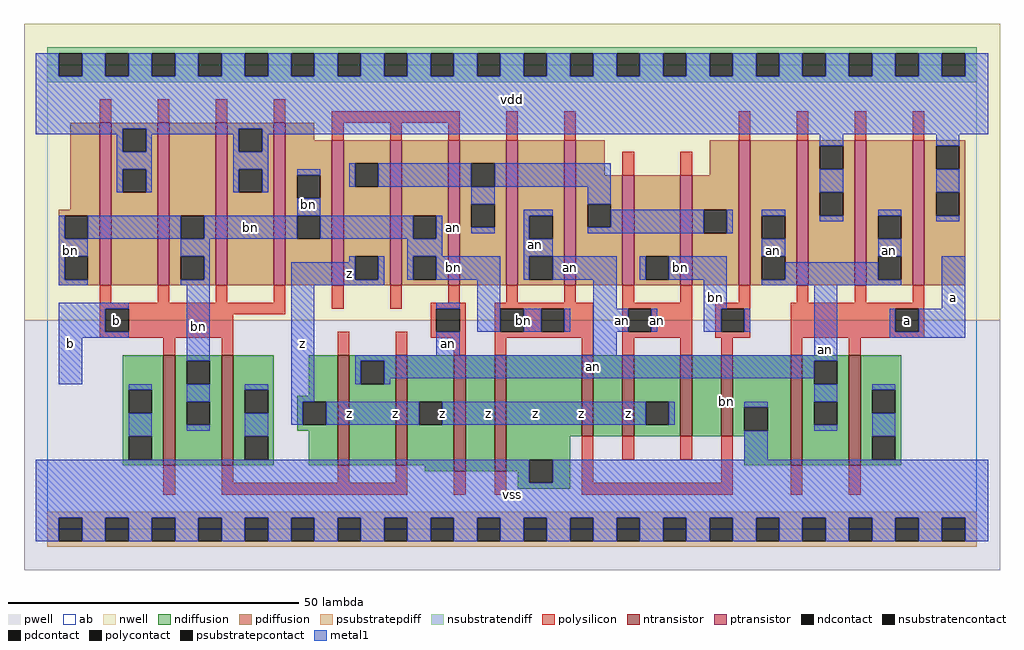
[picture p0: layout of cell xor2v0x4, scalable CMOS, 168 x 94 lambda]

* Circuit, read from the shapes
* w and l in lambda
.subckt xor2v0x4 a an b bn vdd vss z
M1 bn b vss vss nfet w=19 l=2 m=2
M2 an b z vss nfet w=19 l=2 m=2
M3 n1 an z vss nfet w=20 l=2
M4 vss bn n1 vss nfet w=20 l=2
M5 n2 bn vss vss nfet w=14 l=2
M6 z an n2 vss nfet w=14 l=2
M7 n3 an z vss nfet w=14 l=2
M8 vss bn n3 vss nfet w=14 l=2
M9 an a vss vss nfet w=19 l=2 m=2
M10 vdd b bn vdd pfet w=28 l=2 m=4
M11 z an bn vdd pfet w=25 l=2 m=3
M12 an bn z vdd pfet w=25 l=2 m=3
M13 bn an z vdd pfet w=19 l=2 m=2
M14 vdd a an vdd pfet w=25 l=2 m=3
.ends

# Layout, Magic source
magic
tech scmos
<< ab >>
rect 0 0 160 80
<< pwell >>
rect -4 -7 164 36
<< nwell >>
rect -4 36 164 87
<< polysilicon >>
rect 9 70 11 74
rect 19 70 21 74
rect 29 70 31 74
rect 39 70 41 74
rect 49 70 71 72
rect 49 67 51 70
rect 59 67 61 70
rect 69 67 71 70
rect 79 67 81 72
rect 89 67 91 72
rect 119 67 121 72
rect 129 67 131 72
rect 139 67 141 72
rect 149 67 151 72
rect 99 61 101 65
rect 109 61 111 65
rect 9 39 11 42
rect 19 39 21 42
rect 29 39 31 42
rect 39 39 41 42
rect 9 38 41 39
rect 49 38 51 42
rect 59 38 61 42
rect 69 39 71 42
rect 79 39 81 42
rect 89 39 91 42
rect 99 39 101 42
rect 109 39 111 42
rect 119 39 121 42
rect 129 39 131 42
rect 139 39 141 42
rect 149 39 151 42
rect 66 38 72 39
rect 9 34 10 38
rect 14 37 41 38
rect 14 34 32 37
rect 66 34 67 38
rect 71 34 72 38
rect 9 33 32 34
rect 20 30 22 33
rect 30 30 32 33
rect 50 30 52 34
rect 60 30 62 34
rect 66 33 72 34
rect 70 30 72 33
rect 77 38 94 39
rect 77 34 78 38
rect 82 34 85 38
rect 89 34 94 38
rect 77 33 94 34
rect 77 30 79 33
rect 92 30 94 33
rect 99 38 111 39
rect 99 34 100 38
rect 104 34 111 38
rect 99 33 111 34
rect 115 38 121 39
rect 115 34 116 38
rect 120 34 121 38
rect 115 33 121 34
rect 128 38 151 39
rect 128 34 146 38
rect 150 34 151 38
rect 128 33 151 34
rect 99 30 101 33
rect 109 30 111 33
rect 116 30 118 33
rect 128 30 130 33
rect 138 30 140 33
rect 20 6 22 11
rect 30 8 32 11
rect 50 8 52 11
rect 60 8 62 11
rect 30 6 62 8
rect 70 6 72 10
rect 77 6 79 10
rect 92 8 94 16
rect 99 12 101 16
rect 109 12 111 16
rect 116 8 118 16
rect 92 6 118 8
rect 128 6 130 11
rect 138 6 140 11
<< ndiffusion >>
rect 13 24 20 30
rect 13 20 14 24
rect 18 20 20 24
rect 13 16 20 20
rect 13 12 14 16
rect 18 12 20 16
rect 13 11 20 12
rect 22 29 30 30
rect 22 25 24 29
rect 28 25 30 29
rect 22 22 30 25
rect 22 18 24 22
rect 28 18 30 22
rect 22 11 30 18
rect 32 24 39 30
rect 32 20 34 24
rect 38 20 39 24
rect 45 23 50 30
rect 32 16 39 20
rect 43 22 50 23
rect 43 18 44 22
rect 48 18 50 22
rect 43 17 50 18
rect 32 12 34 16
rect 38 12 39 16
rect 32 11 39 12
rect 45 11 50 17
rect 52 29 60 30
rect 52 25 54 29
rect 58 25 60 29
rect 52 11 60 25
rect 62 22 70 30
rect 62 18 64 22
rect 68 18 70 22
rect 62 11 70 18
rect 65 10 70 11
rect 72 10 77 30
rect 79 16 92 30
rect 94 16 99 30
rect 101 22 109 30
rect 101 18 103 22
rect 107 18 109 22
rect 101 16 109 18
rect 111 16 116 30
rect 118 21 128 30
rect 118 17 120 21
rect 124 17 128 21
rect 118 16 128 17
rect 79 12 90 16
rect 79 10 83 12
rect 81 8 83 10
rect 87 8 90 12
rect 81 7 90 8
rect 120 11 128 16
rect 130 29 138 30
rect 130 25 132 29
rect 136 25 138 29
rect 130 22 138 25
rect 130 18 132 22
rect 136 18 138 22
rect 130 11 138 18
rect 140 24 147 30
rect 140 20 142 24
rect 146 20 147 24
rect 140 16 147 20
rect 140 12 142 16
rect 146 12 147 16
rect 140 11 147 12
<< pdiffusion >>
rect 4 55 9 70
rect 2 54 9 55
rect 2 50 3 54
rect 7 50 9 54
rect 2 47 9 50
rect 2 43 3 47
rect 7 43 9 47
rect 2 42 9 43
rect 11 69 19 70
rect 11 65 13 69
rect 17 65 19 69
rect 11 62 19 65
rect 11 58 13 62
rect 17 58 19 62
rect 11 42 19 58
rect 21 54 29 70
rect 21 50 23 54
rect 27 50 29 54
rect 21 47 29 50
rect 21 43 23 47
rect 27 43 29 47
rect 21 42 29 43
rect 31 69 39 70
rect 31 65 33 69
rect 37 65 39 69
rect 31 62 39 65
rect 31 58 33 62
rect 37 58 39 62
rect 31 42 39 58
rect 41 67 46 70
rect 41 61 49 67
rect 41 57 43 61
rect 47 57 49 61
rect 41 54 49 57
rect 41 50 43 54
rect 47 50 49 54
rect 41 42 49 50
rect 51 63 59 67
rect 51 59 53 63
rect 57 59 59 63
rect 51 47 59 59
rect 51 43 53 47
rect 57 43 59 47
rect 51 42 59 43
rect 61 54 69 67
rect 61 50 63 54
rect 67 50 69 54
rect 61 47 69 50
rect 61 43 63 47
rect 67 43 69 47
rect 61 42 69 43
rect 71 63 79 67
rect 71 59 73 63
rect 77 59 79 63
rect 71 56 79 59
rect 71 52 73 56
rect 77 52 79 56
rect 71 42 79 52
rect 81 54 89 67
rect 81 50 83 54
rect 87 50 89 54
rect 81 47 89 50
rect 81 43 83 47
rect 87 43 89 47
rect 81 42 89 43
rect 91 61 96 67
rect 114 61 119 67
rect 91 56 99 61
rect 91 52 93 56
rect 97 52 99 56
rect 91 42 99 52
rect 101 47 109 61
rect 101 43 103 47
rect 107 43 109 47
rect 101 42 109 43
rect 111 55 119 61
rect 111 51 113 55
rect 117 51 119 55
rect 111 42 119 51
rect 121 54 129 67
rect 121 50 123 54
rect 127 50 129 54
rect 121 47 129 50
rect 121 43 123 47
rect 127 43 129 47
rect 121 42 129 43
rect 131 66 139 67
rect 131 62 133 66
rect 137 62 139 66
rect 131 58 139 62
rect 131 54 133 58
rect 137 54 139 58
rect 131 42 139 54
rect 141 54 149 67
rect 141 50 143 54
rect 147 50 149 54
rect 141 47 149 50
rect 141 43 143 47
rect 147 43 149 47
rect 141 42 149 43
rect 151 66 158 67
rect 151 62 153 66
rect 157 62 158 66
rect 151 58 158 62
rect 151 54 153 58
rect 157 54 158 58
rect 151 42 158 54
<< metal1 >>
rect -2 78 2 82
rect 6 78 10 82
rect 14 78 18 82
rect 22 78 26 82
rect 30 78 34 82
rect 38 78 42 82
rect 46 78 50 82
rect 54 78 58 82
rect 62 78 66 82
rect 70 78 74 82
rect 78 78 82 82
rect 86 78 90 82
rect 94 78 98 82
rect 102 78 106 82
rect 110 78 114 82
rect 118 78 122 82
rect 126 78 130 82
rect 134 78 138 82
rect 142 78 146 82
rect 150 78 154 82
rect 158 78 162 82
rect -2 69 162 78
rect -2 68 13 69
rect 12 65 13 68
rect 17 68 33 69
rect 17 65 18 68
rect 12 62 18 65
rect 12 58 13 62
rect 17 58 18 62
rect 32 65 33 68
rect 37 68 162 69
rect 37 65 38 68
rect 32 62 38 65
rect 133 66 137 68
rect 32 58 33 62
rect 37 58 38 62
rect 43 61 47 62
rect 52 59 53 63
rect 57 59 73 63
rect 77 59 97 63
rect 43 54 47 57
rect 73 56 77 59
rect 2 50 3 54
rect 7 50 23 54
rect 27 50 43 54
rect 47 50 63 54
rect 67 50 68 54
rect 93 56 97 59
rect 73 51 77 52
rect 82 54 87 55
rect 2 47 7 50
rect 2 43 3 47
rect 2 42 7 43
rect 23 47 28 50
rect 62 47 68 50
rect 82 50 83 54
rect 133 58 137 62
rect 97 52 113 55
rect 93 51 113 52
rect 117 51 118 55
rect 123 54 127 55
rect 82 47 87 50
rect 153 66 157 68
rect 153 58 157 62
rect 133 53 137 54
rect 143 54 147 55
rect 123 47 127 50
rect 27 43 28 47
rect 52 46 53 47
rect 23 42 28 43
rect 2 38 14 39
rect 2 34 10 38
rect 2 33 14 34
rect 2 25 6 33
rect 24 29 28 42
rect 42 43 53 46
rect 57 43 58 47
rect 62 43 63 47
rect 67 43 78 47
rect 82 43 83 47
rect 87 43 98 47
rect 102 43 103 47
rect 107 43 117 47
rect 42 42 58 43
rect 14 24 18 25
rect 14 16 18 20
rect 24 22 28 25
rect 24 17 28 18
rect 34 24 38 25
rect 34 16 38 20
rect 42 22 46 42
rect 67 38 71 39
rect 74 34 78 43
rect 94 38 98 43
rect 113 38 117 43
rect 153 53 157 54
rect 143 47 147 50
rect 127 43 143 46
rect 123 42 147 43
rect 82 34 85 38
rect 89 34 90 38
rect 94 34 100 38
rect 104 34 105 38
rect 113 34 116 38
rect 120 34 121 38
rect 67 30 71 34
rect 94 30 98 34
rect 132 30 136 42
rect 154 38 158 47
rect 145 34 146 38
rect 150 34 158 38
rect 145 33 158 34
rect 53 29 136 30
rect 53 25 54 29
rect 58 26 132 29
rect 58 25 59 26
rect 132 22 136 25
rect 42 18 44 22
rect 48 18 64 22
rect 68 18 103 22
rect 107 18 108 22
rect 120 21 124 22
rect 132 17 136 18
rect 142 24 146 25
rect 120 12 124 17
rect 142 16 146 20
rect -2 8 83 12
rect 87 8 162 12
rect -2 2 162 8
rect -2 -2 2 2
rect 6 -2 10 2
rect 14 -2 18 2
rect 22 -2 26 2
rect 30 -2 34 2
rect 38 -2 42 2
rect 46 -2 50 2
rect 54 -2 58 2
rect 62 -2 66 2
rect 70 -2 74 2
rect 78 -2 82 2
rect 86 -2 90 2
rect 94 -2 98 2
rect 102 -2 106 2
rect 110 -2 114 2
rect 118 -2 122 2
rect 126 -2 130 2
rect 134 -2 138 2
rect 142 -2 146 2
rect 150 -2 154 2
rect 158 -2 162 2
<< ntransistor >>
rect 20 11 22 30
rect 30 11 32 30
rect 50 11 52 30
rect 60 11 62 30
rect 70 10 72 30
rect 77 10 79 30
rect 92 16 94 30
rect 99 16 101 30
rect 109 16 111 30
rect 116 16 118 30
rect 128 11 130 30
rect 138 11 140 30
<< ptransistor >>
rect 9 42 11 70
rect 19 42 21 70
rect 29 42 31 70
rect 39 42 41 70
rect 49 42 51 67
rect 59 42 61 67
rect 69 42 71 67
rect 79 42 81 67
rect 89 42 91 67
rect 99 42 101 61
rect 109 42 111 61
rect 119 42 121 67
rect 129 42 131 67
rect 139 42 141 67
rect 149 42 151 67
<< polycontact >>
rect 10 34 14 38
rect 67 34 71 38
rect 78 34 82 38
rect 85 34 89 38
rect 100 34 104 38
rect 116 34 120 38
rect 146 34 150 38
<< ndcontact >>
rect 14 20 18 24
rect 14 12 18 16
rect 24 25 28 29
rect 24 18 28 22
rect 34 20 38 24
rect 44 18 48 22
rect 34 12 38 16
rect 54 25 58 29
rect 64 18 68 22
rect 103 18 107 22
rect 120 17 124 21
rect 83 8 87 12
rect 132 25 136 29
rect 132 18 136 22
rect 142 20 146 24
rect 142 12 146 16
<< pdcontact >>
rect 3 50 7 54
rect 3 43 7 47
rect 13 65 17 69
rect 13 58 17 62
rect 23 50 27 54
rect 23 43 27 47
rect 33 65 37 69
rect 33 58 37 62
rect 43 57 47 61
rect 43 50 47 54
rect 53 59 57 63
rect 53 43 57 47
rect 63 50 67 54
rect 63 43 67 47
rect 73 59 77 63
rect 73 52 77 56
rect 83 50 87 54
rect 83 43 87 47
rect 93 52 97 56
rect 103 43 107 47
rect 113 51 117 55
rect 123 50 127 54
rect 123 43 127 47
rect 133 62 137 66
rect 133 54 137 58
rect 143 50 147 54
rect 143 43 147 47
rect 153 62 157 66
rect 153 54 157 58
<< psubstratepcontact >>
rect 2 -2 6 2
rect 10 -2 14 2
rect 18 -2 22 2
rect 26 -2 30 2
rect 34 -2 38 2
rect 42 -2 46 2
rect 50 -2 54 2
rect 58 -2 62 2
rect 66 -2 70 2
rect 74 -2 78 2
rect 82 -2 86 2
rect 90 -2 94 2
rect 98 -2 102 2
rect 106 -2 110 2
rect 114 -2 118 2
rect 122 -2 126 2
rect 130 -2 134 2
rect 138 -2 142 2
rect 146 -2 150 2
rect 154 -2 158 2
<< nsubstratencontact >>
rect 2 78 6 82
rect 10 78 14 82
rect 18 78 22 82
rect 26 78 30 82
rect 34 78 38 82
rect 42 78 46 82
rect 50 78 54 82
rect 58 78 62 82
rect 66 78 70 82
rect 74 78 78 82
rect 82 78 86 82
rect 90 78 94 82
rect 98 78 102 82
rect 106 78 110 82
rect 114 78 118 82
rect 122 78 126 82
rect 130 78 134 82
rect 138 78 142 82
rect 146 78 150 82
rect 154 78 158 82
<< psubstratepdiff >>
rect 0 2 160 3
rect 0 -2 2 2
rect 6 -2 10 2
rect 14 -2 18 2
rect 22 -2 26 2
rect 30 -2 34 2
rect 38 -2 42 2
rect 46 -2 50 2
rect 54 -2 58 2
rect 62 -2 66 2
rect 70 -2 74 2
rect 78 -2 82 2
rect 86 -2 90 2
rect 94 -2 98 2
rect 102 -2 106 2
rect 110 -2 114 2
rect 118 -2 122 2
rect 126 -2 130 2
rect 134 -2 138 2
rect 142 -2 146 2
rect 150 -2 154 2
rect 158 -2 160 2
rect 0 -3 160 -2
<< nsubstratendiff >>
rect 0 82 160 83
rect 0 78 2 82
rect 6 78 10 82
rect 14 78 18 82
rect 22 78 26 82
rect 30 78 34 82
rect 38 78 42 82
rect 46 78 50 82
rect 54 78 58 82
rect 62 78 66 82
rect 70 78 74 82
rect 78 78 82 82
rect 86 78 90 82
rect 94 78 98 82
rect 102 78 106 82
rect 110 78 114 82
rect 118 78 122 82
rect 126 78 130 82
rect 134 78 138 82
rect 142 78 146 82
rect 150 78 154 82
rect 158 78 160 82
rect 0 77 160 78
<< labels >>
rlabel ptransistor 70 52 70 52 6 an
rlabel polysilicon 105 36 105 36 6 an
rlabel ntransistor 117 22 117 22 6 bn
rlabel metal1 4 32 4 32 6 b
rlabel polycontact 12 36 12 36 6 b
rlabel metal1 4 48 4 48 6 bn
rlabel metal1 26 35 26 35 6 bn
rlabel metal1 60 20 60 20 6 z
rlabel metal1 52 20 52 20 6 z
rlabel metal1 44 32 44 32 6 z
rlabel metal1 52 44 52 44 6 z
rlabel metal1 45 56 45 56 6 bn
rlabel metal1 80 6 80 6 6 vss
rlabel metal1 84 20 84 20 6 z
rlabel metal1 92 20 92 20 6 z
rlabel metal1 76 20 76 20 6 z
rlabel metal1 68 20 68 20 6 z
rlabel metal1 69 32 69 32 6 an
rlabel metal1 70 45 70 45 6 bn
rlabel metal1 82 36 82 36 6 bn
rlabel metal1 84 49 84 49 6 an
rlabel metal1 35 52 35 52 6 bn
rlabel metal1 80 74 80 74 6 vdd
rlabel metal1 100 20 100 20 6 z
rlabel metal1 90 45 90 45 6 an
rlabel metal1 99 36 99 36 6 an
rlabel metal1 115 40 115 40 6 bn
rlabel metal1 109 45 109 45 6 bn
rlabel metal1 125 48 125 48 6 an
rlabel metal1 94 28 94 28 6 an
rlabel metal1 134 31 134 31 6 an
rlabel metal1 156 40 156 40 6 a
rlabel polycontact 148 36 148 36 6 a
rlabel metal1 145 48 145 48 6 an
<< end >>
